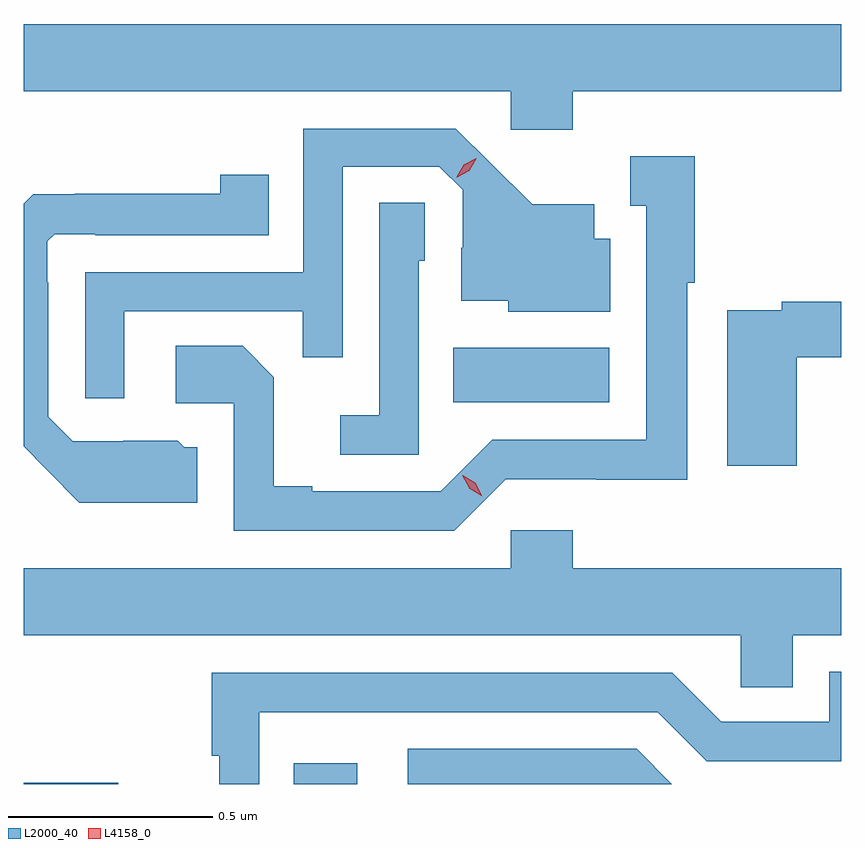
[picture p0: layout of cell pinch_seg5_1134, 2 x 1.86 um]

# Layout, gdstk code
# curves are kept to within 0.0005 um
import gdstk
lib = gdstk.Library(unit=1e-6, precision=1e-09)
def R(c, l, rs):  # rectangles x0, y0, x1, y1
    for r in rs: c.add(gdstk.rectangle(r[:2], r[2:], *l))
def P(c, l, *ps):  # polygons
    for p in ps: c.add(gdstk.Polygon(p, *l))
L2000_40 = (2000, 40)
L4158_0 = (4158, 0)

pinch_seg5_1134 = lib.new_cell('pinch_seg5_1134')
R(pinch_seg5_1134, L2000_40, [(774.123,872.38,774.354,872.383), (774.784,872.38,774.939,872.431), (775.174,873.314,775.555,873.448)])
P(pinch_seg5_1134, L2000_40, [(775.466,874.076),(776.123,874.076),(776.123,874.24),(774.123,874.24),(774.123,874.076),(775.314,874.076),(775.314,873.981),(775.466,873.981)],
  [(774.369,873.537),(774.805,873.537),(774.805,873.424),(774.903,873.424),(774.903,873.891),(775.14,873.891),(775.197,873.834),(775.197,873.692),(775.193,873.692),(775.193,873.563),(775.308,873.563),(775.308,873.536),(775.558,873.536),(775.558,873.715),(775.519,873.715),(775.519,873.799),(775.367,873.799),(775.18,873.984),(774.807,873.984),(774.807,873.633),(774.273,873.633),(774.273,873.324),(774.369,873.324)],
  [(775.302,873.126),(775.524,873.126),(775.524,873.125),(775.747,873.125),(775.747,873.607),(775.765,873.607),(775.765,873.916),(775.607,873.916),(775.607,873.795),(775.646,873.795),(775.646,873.222),(775.269,873.222),(775.143,873.096),(774.829,873.096),(774.829,873.109),(774.735,873.109),(774.735,873.376),(774.659,873.452),(774.495,873.452),(774.495,873.312),(774.636,873.312),(774.636,873),(775.176,873)],
  [(774.547,873.204),(774.516,873.204),(774.5,873.22),(774.366,873.22),(774.366,873.219),(774.243,873.219),(774.183,873.279),(774.183,873.608),(774.18,873.608),(774.18,873.708),(774.198,873.726),(774.298,873.726),(774.298,873.723),(774.722,873.723),(774.722,873.871),(774.604,873.871),(774.604,873.824),(774.247,873.824),(774.247,873.823),(774.146,873.823),(774.123,873.8),(774.123,873.206),(774.259,873.068),(774.547,873.068)],
  [(775.089,873.66),(775.104,873.66),(775.104,873.803),(774.993,873.803),(774.993,873.283),(774.897,873.283),(774.897,873.186),(775.089,873.186)],
  [(776.015,873.424),(776.123,873.424),(776.123,873.56),(775.978,873.56),(775.978,873.54),(775.844,873.54),(775.844,873.159),(776.015,873.159)],
  [(776.005,872.744),(776.123,872.744),(776.123,872.908),(775.466,872.908),(775.466,873.001),(775.314,873.001),(775.314,872.908),(774.123,872.908),(774.123,872.744),(775.878,872.744),(775.878,872.617),(776.005,872.617)],
  [(774.699,872.556),(775.674,872.556),(775.794,872.436),(776.123,872.436),(776.123,872.655),(776.094,872.655),(776.094,872.532),(775.83,872.532),(775.71,872.652),(774.583,872.652),(774.583,872.449),(774.601,872.449),(774.601,872.38),(774.699,872.38)],
  [(775.623,872.466),(775.062,872.466),(775.062,872.38),(775.709,872.38)])
P(pinch_seg5_1134, L4158_0, [(775.182,873.865),(775.182,873.866),(775.199,873.895),(775.23,873.911),(775.23,873.911),(775.23,873.91),(775.213,873.881),(775.183,873.865)],
  [(775.245,873.084),(775.214,873.103),(775.196,873.136),(775.196,873.136),(775.197,873.136),(775.228,873.117),(775.245,873.084),(775.245,873.084)])

lib.write_gds('pinch_seg5_1134.gds')
